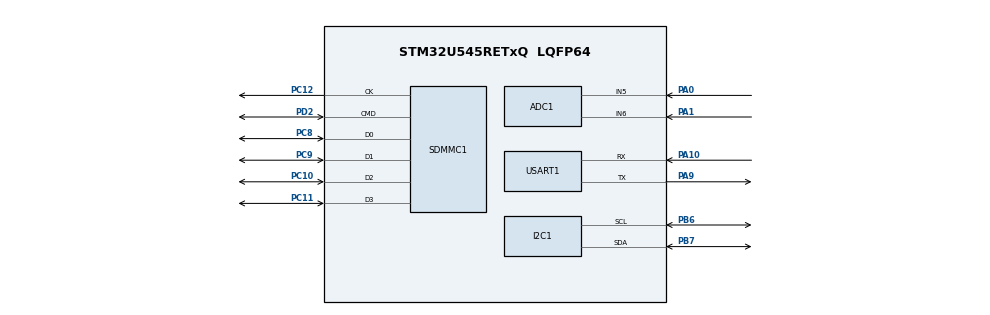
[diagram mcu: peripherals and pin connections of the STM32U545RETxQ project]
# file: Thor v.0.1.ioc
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ADC1.Channel-1\#ChannelRegularConversion=ADC_CHANNEL_5
ADC1.ContinuousConvMode=ENABLE
ADC1.MonitoredBy-1\#ChannelRegularConversion=__NULL
ADC1.NbrOfConversionFlag=1
ADC1.OffsetNumber-1\#ChannelRegularConversion=ADC_OFFSET_NONE
ADC1.Rank-1\#ChannelRegularConversion=1
ADC1.SamplingTime-1\#ChannelRegularConversion=ADC_SAMPLETIME_5CYCLE
ADC1.SingleDiff-1\#ChannelRegularConversion=ADC_DIFFERENTIAL_ENDED
ADC1.master=1
CORTEX_M33_NS.userName=CORTEX_M33
FILEX.FX_SD_INTERFACE=1
FILEX.useRTOS=1
I2C1.Timing=0x00000E14
Mcu.Family=STM32U5
Mcu.Name=STM32U545RETxQ
Mcu.Package=LQFP64
NVIC.PriorityGroup=NVIC_PRIORITYGROUP_4
NVIC.SDMMC1_IRQn=true\:0\:0\:false\:false\:true\:false\:true\:true\:true
NVIC.TIM6_IRQn=true\:15\:0\:false\:false\:true\:false\:false\:true\:true
NVIC.TimeBase=TIM6_IRQn
NVIC.TimeBaseIP=TIM6
PA0.Mode=IN5-Differential
PA0.Signal=ADC1_IN5
PA1.Mode=IN5-Differential
PA1.Signal=ADC1_IN6
PA10.Mode=Asynchronous
PA10.Signal=USART1_RX
PA9.Mode=Asynchronous
PA9.Signal=USART1_TX
PB6.GPIO_Pu=GPIO_PULLUP
PB6.GPIO_Speed=GPIO_SPEED_FREQ_VERY_HIGH
PB6.Mode=I2C
PB6.Signal=I2C1_SCL
PB7.GPIO_Pu=GPIO_PULLUP
PB7.GPIO_Speed=GPIO_SPEED_FREQ_VERY_HIGH
PB7.Mode=I2C
PB7.Signal=I2C1_SDA
PC10.Mode=SD_4_bits_Wide_bus
PC10.Signal=SDMMC1_D2
PC11.Mode=SD_4_bits_Wide_bus
PC11.Signal=SDMMC1_D3
PC12.Mode=SD_4_bits_Wide_bus
PC12.Signal=SDMMC1_CK
PC8.Mode=SD_4_bits_Wide_bus
PC8.Signal=SDMMC1_D0
PC9.Mode=SD_4_bits_Wide_bus
PC9.Signal=SDMMC1_D1
PD2.Mode=SD_4_bits_Wide_bus
PD2.Signal=SDMMC1_CMD
PH0-OSC_IN\ (PH0).Mode=HSE-External-Oscillator
PH0-OSC_IN\ (PH0).Signal=RCC_OSC_IN
PH1-OSC_OUT\ (PH1).Mode=HSE-External-Oscillator
PH1-OSC_OUT\ (PH1).Signal=RCC_OSC_OUT
ProjectManager.HeapSize=0x200
ProjectManager.StackSize=0x400
ProjectManager.TargetToolchain=STM32CubeIDE
RCC.ADCFreq_Value=16000000
RCC.DACCLockSelectionVirtual=RCC_DAC1CLKSOURCE_LSI
RCC.DACCLockSelectionVirtualString=RCC_DAC1CLKSOURCE_LSI
RCC.EPOD_VALUE=4000000
RCC.HSE_VALUE=16000000
RCC.HSI48_VALUE=48000000
RCC.HSI_VALUE=16000000
RCC.LSE_VALUE=32768
RCC.LSIDIV_VALUE=32000
RCC.MSI_VALUE=4000000
RCC.USBFreq_Value=48000000
RCC.VCOOutputFreq_Value=516000000
RTC.Format=RTC_FORMAT_BIN
THREADX.TX_APP_GENERATE_INIT_CODE=true
THREADX.TX_APP_MEM_POOL_SIZE=2*1024
USART1.VirtualMode-Asynchronous=VM_ASYNC
VP_FILEX_VS_FileOoSystemJjFileXJjCore.Mode=FileX_Core
VP_FILEX_VS_SDOointerface.Mode=SD_interface
VP_ICACHE_VS_ICACHE.Mode=DirectMappedCache
VP_LPBAMQUEUE_VS_QUEUE.Mode=QUEUEMODE
VP_LPBAM_VS_SIG1.Mode=SmartRun
VP_LPBAM_VS_SIG4.Mode=LPDMA1
VP_MEMORYMAP_VS_MEMORYMAP.Mode=CurAppReg
VP_PWR_VS_SECSignals.Mode=Security/Privilege
VP_PWR_Vdda.Mode=isolationVdda
VP_RTC_VS_RTC_Activate.Mode=RTC_Enabled
VP_RTC_VS_RTC_Calendar.Mode=RTC_Calendar
VP_SYS_VS_tim6.Mode=TIM6
VP_THREADX_VS_RTOSJjThreadXJjCoreJjDefault.Mode=Core_Default
board=custom

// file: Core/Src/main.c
/* USER CODE BEGIN Header */
/**
  ******************************************************************************
  * @file           : main.c
  * @brief          : Main program body
  ******************************************************************************
  * @attention
  *
  * Copyright (c) 2025 STMicroelectronics.
  * All rights reserved.
  *
  * This software is licensed under terms that can be found in the LICENSE file
  * in the root directory of this software component.
  * If no LICENSE file comes with this software, it is provided AS-IS.
  *
  ******************************************************************************
  */
/* USER CODE END Header */
#include "app_threadx.h"
#include "main.h"

/* USER CODE BEGIN Includes */
#include <stdio.h>
#include <stdarg.h>
#include <app_filex.h>
#include "FLASH_PAGE.h"

/* USER CODE END Includes */

/* USER CODE BEGIN PD */
#define LTR390_UVSMode 0x0A
/* USER CODE END PD */

ADC_HandleTypeDef hadc1;

I2C_HandleTypeDef hi2c1;

RTC_HandleTypeDef hrtc;

SD_HandleTypeDef hsd1;

UART_HandleTypeDef huart1;

/* USER CODE BEGIN PV */

char RTCBuffer [100];
extern I2C_HandleTypeDef hi2c1;
extern UART_HandleTypeDef huart1;

float lux_index_global = 0.0;

extern FX_FILE file;
extern FX_MEDIA sd_disk;
/* USER CODE END PV */

void SystemClock_Config(void);
static void MX_GPIO_Init(void);
static void MX_ICACHE_Init(void);
static void MX_I2C1_Init(void);
static void MX_USART1_UART_Init(void);
static void MX_RTC_Init(void);
static void MX_ADC1_Init(void);
static void MX_SDMMC1_SD_Init(void);

/* USER CODE BEGIN 0 */
void UART_Printf(const char *fmt, ...){
	char buffer[100];
	va_list args;
	va_start(args, fmt);
	vsnprintf(buffer, sizeof(buffer), fmt, args);
	va_end(args);
	HAL_UART_Transmit(&huart1, (uint8_t*)buffer, strlen(buffer), HAL_MAX_DELAY);
}

void write_lux_to_file(const char *data){

	UINT status;

	fx_file_seek(&file, 0, FX_SEEK_END);

	status = fx_file_write(&file, data, strlen(data));

	if(status != FX_SUCCESS){
		printf("Failed to save data %u\n", status);
	}

	fx_file_flush(&file);
}
/* USER CODE END 0 */

int main(void)
{

  /* MCU Configuration--------------------------------------------------------*/

  /* Reset of all peripherals, Initializes the Flash interface and the Systick. */
  HAL_Init();

  /* Configure the system clock */
  SystemClock_Config();

  /* Initialize all configured peripherals */
  MX_GPIO_Init();
  MX_ICACHE_Init();
  MX_I2C1_Init();
  MX_USART1_UART_Init();
  MX_RTC_Init();
  MX_ADC1_Init();
  MX_SDMMC1_SD_Init();
  /* USER CODE BEGIN 2 */

  //Timer initialization moved to app_threadx

  //UV measurement
//  HAL_Delay(1000);
//  uint8_t buf_from[1] = {0};
//
//  UART_Printf("Put device in ALS mode \r\n");
//  LTR390_WriteRegister(LTR390UV_HOLDINGREG_MAIN_CTRL, LTR390_ALSMode);
//
//
//  uint8_t buf[1];
//  LTR390_ReadRegister(LTR390UV_HOLDINGREG_MAIN_CTRL, buf, 1);
//
//  HAL_Delay(10);
//
//  // read from LTR390UV_HOLDINGREG_MAIN_CTRL
//  LTR390_ReadRegister(LTR390UV_HOLDINGREG_MAIN_CTRL, buf_from, 1);
//  UART_Printf("MAIN_CTRL: 0x%02X\r\n", buf_from[0]);
//
//  HAL_Delay(1000);
//
//  // Set measurement parameters
//  UART_Printf("\r\nSet measurement parameters\r\n");
//  LTR390_WriteRegister(LTR390UV_HOLDINGREG_ALS_UVS_MEAS_RATE, LTR390_RES18_BIT + LTR390_MEASRATE_100MS);
//
//  HAL_Delay(10);
//
//  // read from LTR390UV_HOLDINGREG_MAIN_CTRL
//  LTR390_ReadRegister(LTR390UV_HOLDINGREG_ALS_UVS_MEAS_RATE, buf_from, 1);
//  UART_Printf("MEAS_RATE: 0x%02X\r\n", buf_from[0]);
//
//  // Set gain
//  UART_Printf("\r\nSet gain\r\n");
//  LTR390_WriteRegister(LTR390UV_HOLDINGREG_ALS_UVS_GAIN, LTR390_GAIN3);
//
//  HAL_Delay(10);
//
//  // read from LTR390UV_HOLDINGREG_MAIN_CTRL
//  LTR390_ReadRegister(LTR390UV_HOLDINGREG_ALS_UVS_GAIN, buf_from, 1);
//  UART_Printf("GAIN: 0x%02X\r\n", buf_from[0]);
//
//  HAL_Delay(100);

//  MX_FileX_Init(TX_BYTE_POOL *memory_ptr);
  /* USER CODE END 2 */

  MX_ThreadX_Init();

  /* We should never get here as control is now taken by the scheduler */

  /* Infinite loop */
  /* USER CODE BEGIN WHILE */
//  while (1)
//  {
//	  	  HAL_Delay(500);
//	 	  //read ALS measurement after 1s
//	 	  uint8_t a_gain[5] = {1,3,6,9,18};
//	 	  double a_int[6] = {4.,2.,1.,0.5,0.25,0.03125}; //lux
//	 	  uint8_t gain = LTR390_GAIN3; //lux
//	 	  uint8_t resolution = (LTR390_RES18_BIT & 0xf0) >> 4; //lux
//	 	  uint8_t buffer[4] = {0};
//	 	  uint32_t originalData = 0;
//	 	  float lux = 0; //lux
////	 	  float uv_index = 0;
//
//
//	 	  UART_Printf("Reading AL data...\r\n");
//	 	  LTR390_ReadRegister(LTR390UV_INPUTREG_ALS_DATA_LOW, buffer, 4);
//	 	  UART_Printf("Buffer: %02X %02X %02X %02X\r\n", buffer[0], buffer[1], buffer[2], buffer[3]);
//
//
//	 	  UART_Printf("MAIN_CTRL register: 0x%02X\r\n", buf[0]);
//	 	  if (buf[0] != LTR390_UVSMode) {
//	 	      UART_Printf("UV mode off!\r\n");
//	 	  }else{
//	 		  UART_Printf(" UV mode on !\r\n");
//	 	  }
//
//	 	  uint8_t size = 4;
//	 	  for(uint8_t i = 0; i < size;){
//	 		uint8_t temp = buffer[i];
//	 		buffer[i] = buffer[i+1];
//	 		buffer[i+1] = temp;
//	 		i+=2;
//	 	  }
//
//	 	  originalData = (uint32_t)buffer[2] << 24 | (uint32_t)buffer[3] << 16 | (uint16_t)buffer[0] << 8 | buffer[1]; //lux
//	 	  lux = (0.6 * originalData) / (a_gain[gain] * a_int[resolution]); //lux
//
////	 	  originalData = (uint32_t)buffer[3] << 24 |
////	 	                 (uint32_t)buffer[2] << 16 |
////	 	                 (uint32_t)buffer[1] << 8 |
////	 	                 (uint32_t)buffer[0];
////	 	  uv_index = (float)originalData / (a_gain[gain] * a_int[resolution]);
//
//	 	  UART_Printf("Original data: %lu\r\n", originalData);
//	 	  UART_Printf("LUX dataa: %f\r\n", lux);
////	 	  UART_Printf("UV Index: %f\r\n", uv_index);
//
//	 	  //Timer
//	 	  HAL_RTC_GetTime(&hrtc, &sTime, RTC_FORMAT_BIN);
//
//	 	  HAL_RTC_GetData(&hrtc, &sDate, RTC_FORMAT_BIN);
//
//	 	  snprintf(RTCBuffer, sizeof(RTCBuffer), "Time:%02d:%02d:%02d\r\n",
//	 			  sTime.Hours,
//				  sTime.Minutes,
//				  sTime.Seconds
//				  );
//
//		   HAL_UART_Transmit(&huart1, (uint8_t*)RTCBuffer, strlen(RTCBuffer), HAL_MAX_DELAY);
//		   HAL_Delay(1000);
//
//	 	  // Formatowanie do zapisywania na SD
//	 	  char buffer[50];
//	 	  snprintf(buffer, sizeof(buffer), "LUX data: %f\r\n", lux);
//
//
//	 	  write_lux_to_file(buffer);
//	 	  HAL_Delay(1000);
    /* USER CODE END WHILE */

    /* USER CODE BEGIN 3 */

//  }
  tx_kernel_enter();
  /* USER CODE END 3 */
}

void SystemClock_Config(void)
{
  RCC_OscInitTypeDef RCC_OscInitStruct = {0};
  RCC_ClkInitTypeDef RCC_ClkInitStruct = {0};

  /** Configure the main internal regulator output voltage
  */
  if (HAL_PWREx_ControlVoltageScaling(PWR_REGULATOR_VOLTAGE_SCALE3) != HAL_OK)
  {
    Error_Handler();
  }

  /** Initializes the CPU, AHB and APB buses clocks
  */
  RCC_OscInitStruct.OscillatorType = RCC_OSCILLATORTYPE_HSI|RCC_OSCILLATORTYPE_LSI
                              |RCC_OSCILLATORTYPE_MSI;
  RCC_OscInitStruct.HSIState = RCC_HSI_ON;
  RCC_OscInitStruct.HSICalibrationValue = RCC_HSICALIBRATION_DEFAULT;
  RCC_OscInitStruct.LSIState = RCC_LSI_ON;
  RCC_OscInitStruct.MSIState = RCC_MSI_ON;
  RCC_OscInitStruct.MSICalibrationValue = RCC_MSICALIBRATION_DEFAULT;
  RCC_OscInitStruct.MSIClockRange = RCC_MSIRANGE_4;
  RCC_OscInitStruct.LSIDiv = RCC_LSI_DIV1;
  RCC_OscInitStruct.PLL.PLLState = RCC_PLL_ON;
  RCC_OscInitStruct.PLL.PLLSource = RCC_PLLSOURCE_MSI;
  RCC_OscInitStruct.PLL.PLLMBOOST = RCC_PLLMBOOST_DIV1;
  RCC_OscInitStruct.PLL.PLLM = 1;
  RCC_OscInitStruct.PLL.PLLN = 129;
  RCC_OscInitStruct.PLL.PLLP = 2;
  RCC_OscInitStruct.PLL.PLLQ = 2;
  RCC_OscInitStruct.PLL.PLLR = 2;
  RCC_OscInitStruct.PLL.PLLRGE = RCC_PLLVCIRANGE_0;
  RCC_OscInitStruct.PLL.PLLFRACN = 0;
  if (HAL_RCC_OscConfig(&RCC_OscInitStruct) != HAL_OK)
  {
    Error_Handler();
  }

  /** Initializes the CPU, AHB and APB buses clocks
  */
  RCC_ClkInitStruct.ClockType = RCC_CLOCKTYPE_HCLK|RCC_CLOCKTYPE_SYSCLK
                              |RCC_CLOCKTYPE_PCLK1|RCC_CLOCKTYPE_PCLK2
                              |RCC_CLOCKTYPE_PCLK3;
  RCC_ClkInitStruct.SYSCLKSource = RCC_SYSCLKSOURCE_MSI;
  RCC_ClkInitStruct.AHBCLKDivider = RCC_SYSCLK_DIV1;
  RCC_ClkInitStruct.APB1CLKDivider = RCC_HCLK_DIV1;
  RCC_ClkInitStruct.APB2CLKDivider = RCC_HCLK_DIV1;
  RCC_ClkInitStruct.APB3CLKDivider = RCC_HCLK_DIV1;

  if (HAL_RCC_ClockConfig(&RCC_ClkInitStruct, FLASH_LATENCY_0) != HAL_OK)
  {
    Error_Handler();
  }
}

static void MX_ADC1_Init(void)
{

  ADC_ChannelConfTypeDef sConfig = {0};

  /** Common config
  */
  hadc1.Instance = ADC1;
  hadc1.Init.ClockPrescaler = ADC_CLOCK_ASYNC_DIV1;
  hadc1.Init.Resolution = ADC_RESOLUTION_14B;
  hadc1.Init.GainCompensation = 0;
  hadc1.Init.DataAlign = ADC_DATAALIGN_RIGHT;
  hadc1.Init.ScanConvMode = ADC_SCAN_DISABLE;
  hadc1.Init.EOCSelection = ADC_EOC_SINGLE_CONV;
  hadc1.Init.LowPowerAutoWait = DISABLE;
  hadc1.Init.ContinuousConvMode = ENABLE;
  hadc1.Init.NbrOfConversion = 1;
  hadc1.Init.DiscontinuousConvMode = DISABLE;
  hadc1.Init.ExternalTrigConv = ADC_SOFTWARE_START;
  hadc1.Init.ExternalTrigConvEdge = ADC_EXTERNALTRIGCONVEDGE_NONE;
  hadc1.Init.DMAContinuousRequests = DISABLE;
  hadc1.Init.TriggerFrequencyMode = ADC_TRIGGER_FREQ_HIGH;
  hadc1.Init.Overrun = ADC_OVR_DATA_PRESERVED;
  hadc1.Init.LeftBitShift = ADC_LEFTBITSHIFT_NONE;
  hadc1.Init.ConversionDataManagement = ADC_CONVERSIONDATA_DR;
  hadc1.Init.OversamplingMode = DISABLE;
  if (HAL_ADC_Init(&hadc1) != HAL_OK)
  {
    Error_Handler();
  }

  /** Configure Regular Channel
  */
  sConfig.Channel = ADC_CHANNEL_5;
  sConfig.Rank = ADC_REGULAR_RANK_1;
  sConfig.SamplingTime = ADC_SAMPLETIME_5CYCLE;
  sConfig.SingleDiff = ADC_DIFFERENTIAL_ENDED;
  sConfig.OffsetNumber = ADC_OFFSET_NONE;
  sConfig.Offset = 0;
  if (HAL_ADC_ConfigChannel(&hadc1, &sConfig) != HAL_OK)
  {
    Error_Handler();
  }

}

static void MX_I2C1_Init(void)
{

  hi2c1.Instance = I2C1;
  hi2c1.Init.Timing = 0x00000E14;
  hi2c1.Init.OwnAddress1 = 0;
  hi2c1.Init.AddressingMode = I2C_ADDRESSINGMODE_7BIT;
  hi2c1.Init.DualAddressMode = I2C_DUALADDRESS_DISABLE;
  hi2c1.Init.OwnAddress2 = 0;
  hi2c1.Init.OwnAddress2Masks = I2C_OA2_NOMASK;
  hi2c1.Init.GeneralCallMode = I2C_GENERALCALL_DISABLE;
  hi2c1.Init.NoStretchMode = I2C_NOSTRETCH_DISABLE;
  if (HAL_I2C_Init(&hi2c1) != HAL_OK)
  {
    Error_Handler();
  }

  /** Configure Analogue filter
  */
  if (HAL_I2CEx_ConfigAnalogFilter(&hi2c1, I2C_ANALOGFILTER_ENABLE) != HAL_OK)
  {
    Error_Handler();
  }

  /** Configure Digital filter
  */
  if (HAL_I2CEx_ConfigDigitalFilter(&hi2c1, 0) != HAL_OK)
  {
    Error_Handler();
  }

}

static void MX_ICACHE_Init(void)
{

  /** Enable instruction cache in 1-way (direct mapped cache)
  */
  if (HAL_ICACHE_ConfigAssociativityMode(ICACHE_1WAY) != HAL_OK)
  {
    Error_Handler();
  }
  if (HAL_ICACHE_Enable() != HAL_OK)
  {
    Error_Handler();
  }

}

static void MX_RTC_Init(void)
{

  RTC_PrivilegeStateTypeDef privilegeState = {0};
  RTC_TimeTypeDef sTime = {0};
  RTC_DateTypeDef sDate = {0};

  /** Initialize RTC Only
  */
  hrtc.Instance = RTC;
  hrtc.Init.HourFormat = RTC_HOURFORMAT_24;
  hrtc.Init.AsynchPrediv = 127;
  hrtc.Init.SynchPrediv = 255;
  hrtc.Init.OutPut = RTC_OUTPUT_DISABLE;
  hrtc.Init.OutPutRemap = RTC_OUTPUT_REMAP_NONE;
  hrtc.Init.OutPutPolarity = RTC_OUTPUT_POLARITY_HIGH;
  hrtc.Init.OutPutType = RTC_OUTPUT_TYPE_OPENDRAIN;
  hrtc.Init.OutPutPullUp = RTC_OUTPUT_PULLUP_NONE;
  hrtc.Init.BinMode = RTC_BINARY_NONE;
  if (HAL_RTC_Init(&hrtc) != HAL_OK)
  {
    Error_Handler();
  }
  privilegeState.rtcPrivilegeFull = RTC_PRIVILEGE_FULL_NO;
  privilegeState.backupRegisterPrivZone = RTC_PRIVILEGE_BKUP_ZONE_NONE;
  privilegeState.backupRegisterStartZone2 = RTC_BKP_DR0;
  privilegeState.backupRegisterStartZone3 = RTC_BKP_DR0;
  if (HAL_RTCEx_PrivilegeModeSet(&hrtc, &privilegeState) != HAL_OK)
  {
    Error_Handler();
  }

  /** Initialize RTC and set the Time and Date
  */
  sTime.Hours = 0;
  sTime.Minutes = 0;
  sTime.Seconds = 0;
  sTime.DayLightSaving = RTC_DAYLIGHTSAVING_NONE;
  sTime.StoreOperation = RTC_STOREOPERATION_RESET;
  if (HAL_RTC_SetTime(&hrtc, &sTime, RTC_FORMAT_BIN) != HAL_OK)
  {
    Error_Handler();
  }
  sDate.WeekDay = RTC_WEEKDAY_MONDAY;
  sDate.Month = RTC_MONTH_JANUARY;
  sDate.Date = 1;
  sDate.Year = 0;

  if (HAL_RTC_SetDate(&hrtc, &sDate, RTC_FORMAT_BIN) != HAL_OK)
  {
    Error_Handler();
  }

}

static void MX_SDMMC1_SD_Init(void)
{

  hsd1.Instance = SDMMC1;
  hsd1.Init.ClockEdge = SDMMC_CLOCK_EDGE_RISING;
  hsd1.Init.ClockPowerSave = SDMMC_CLOCK_POWER_SAVE_DISABLE;
  hsd1.Init.BusWide = SDMMC_BUS_WIDE_4B;
  hsd1.Init.HardwareFlowControl = SDMMC_HARDWARE_FLOW_CONTROL_DISABLE;
  hsd1.Init.ClockDiv = 0;
  if (HAL_SD_Init(&hsd1) != HAL_OK)
  {
    Error_Handler();
  }

}

static void MX_USART1_UART_Init(void)
{

  huart1.Instance = USART1;
  huart1.Init.BaudRate = 115200;
  huart1.Init.WordLength = UART_WORDLENGTH_8B;
  huart1.Init.StopBits = UART_STOPBITS_1;
  huart1.Init.Parity = UART_PARITY_NONE;
  huart1.Init.Mode = UART_MODE_TX_RX;
  huart1.Init.HwFlowCtl = UART_HWCONTROL_NONE;
  huart1.Init.OverSampling = UART_OVERSAMPLING_16;
  huart1.Init.OneBitSampling = UART_ONE_BIT_SAMPLE_DISABLE;
  huart1.Init.ClockPrescaler = UART_PRESCALER_DIV1;
  huart1.AdvancedInit.AdvFeatureInit = UART_ADVFEATURE_NO_INIT;
  if (HAL_UART_Init(&huart1) != HAL_OK)
  {
    Error_Handler();
  }
  if (HAL_UARTEx_SetTxFifoThreshold(&huart1, UART_TXFIFO_THRESHOLD_1_8) != HAL_OK)
  {
    Error_Handler();
  }
  if (HAL_UARTEx_SetRxFifoThreshold(&huart1, UART_RXFIFO_THRESHOLD_1_8) != HAL_OK)
  {
    Error_Handler();
  }
  if (HAL_UARTEx_DisableFifoMode(&huart1) != HAL_OK)
  {
    Error_Handler();
  }

}

static void MX_GPIO_Init(void)
{

  /* GPIO Ports Clock Enable */
  __HAL_RCC_GPIOH_CLK_ENABLE();
  __HAL_RCC_GPIOA_CLK_ENABLE();
  __HAL_RCC_GPIOC_CLK_ENABLE();
  __HAL_RCC_GPIOD_CLK_ENABLE();
  __HAL_RCC_GPIOB_CLK_ENABLE();

}

void HAL_TIM_PeriodElapsedCallback(TIM_HandleTypeDef *htim)
{
  if (htim->Instance == TIM6)
  {
    HAL_IncTick();
  }
}

void Error_Handler(void)
{
  __disable_irq();
  while (1)
  {
  }
}
